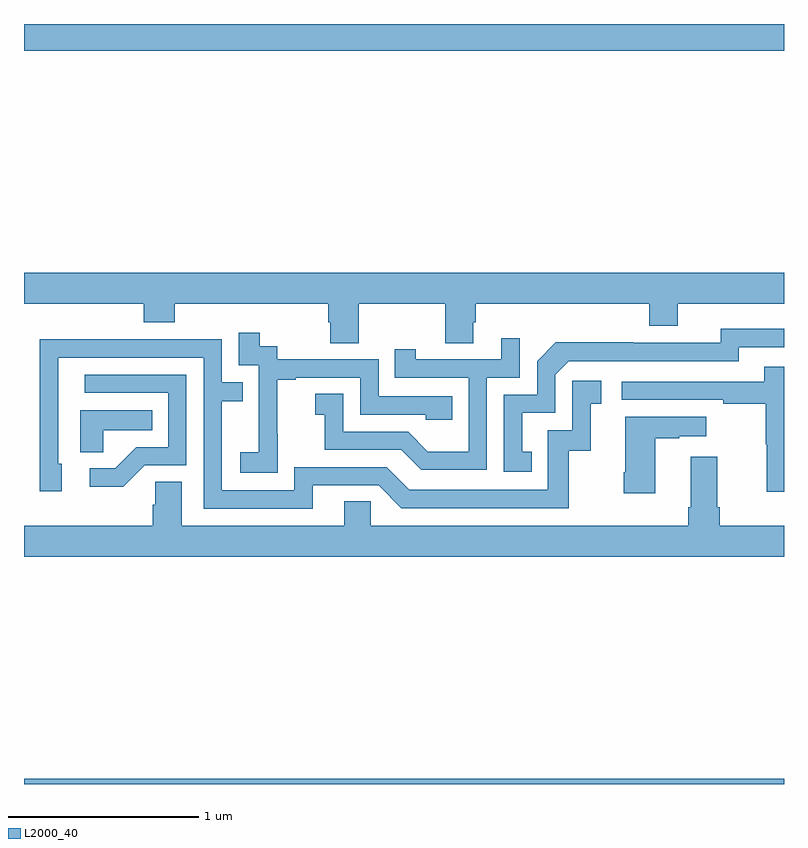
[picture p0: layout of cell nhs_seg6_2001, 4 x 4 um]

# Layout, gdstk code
import gdstk
lib = gdstk.Library(unit=1e-6, precision=1e-09)
def R(c, l, rs):  # rectangles x0, y0, x1, y1
    for r in rs: c.add(gdstk.rectangle(r[:2], r[2:], *l))
def P(c, l, *ps):  # polygons
    for p in ps: c.add(gdstk.Polygon(p, *l))
L2000_40 = (2000, 40)

nhs_seg6_2001 = lib.new_cell('nhs_seg6_2001')
R(nhs_seg6_2001, L2000_40, [(231,919.5,235,919.528), (231,923.36,235,923.5)])
P(nhs_seg6_2001, L2000_40, [(231,922.028),(231.629,922.028),(231.629,921.929),(231.794,921.929),(231.794,922.028),(232.601,922.028),(232.601,921.93),(232.613,921.93),(232.613,921.82),(232.761,921.82),(232.761,922.028),(233.218,922.028),(233.218,921.82),(233.365,921.82),(233.365,921.93),(233.378,921.93),(233.378,922.028),(234.29,922.028),(234.29,921.911),(234.442,921.911),(234.442,922.028),(235,922.028),(235,922.192),(231,922.192)],
  [(233.672,921.249),(233.623,921.249),(233.623,921.453),(233.796,921.453),(233.796,921.654),(233.868,921.726),(234.762,921.726),(234.762,921.798),(235,921.798),(235,921.895),(234.666,921.895),(234.666,921.822),(234.206,921.822),(234.206,921.824),(233.798,921.824),(233.7,921.726),(233.7,921.549),(233.526,921.549),(233.526,921.144),(233.672,921.144)],
  [(232.335,921.343),(232.334,921.343),(232.334,921.627),(232.429,921.627),(232.429,921.639),(232.77,921.639),(232.77,921.444),(233.115,921.444),(233.115,921.417),(233.255,921.417),(233.255,921.54),(232.866,921.54),(232.866,921.735),(232.332,921.735),(232.332,921.804),(232.24,921.804),(232.24,921.874),(232.131,921.874),(232.131,921.705),(232.236,921.705),(232.236,921.476),(232.235,921.476),(232.235,921.247),(232.137,921.247),(232.137,921.137),(232.335,921.137)],
  [(233.436,921.639),(233.61,921.639),(233.61,921.847),(233.513,921.847),(233.513,921.735),(233.062,921.735),(233.062,921.787),(232.951,921.787),(232.951,921.639),(233.34,921.639),(233.34,921.25),(233.126,921.25),(233.022,921.354),(232.68,921.354),(232.68,921.553),(232.533,921.553),(232.533,921.443),(232.582,921.443),(232.582,921.258),(232.985,921.258),(233.09,921.153),(233.436,921.153)],
  [(232.519,921.072),(232.866,921.072),(232.986,920.952),(233.866,920.952),(233.866,921.255),(233.984,921.255),(233.984,921.501),(234.037,921.501),(234.037,921.622),(233.886,921.622),(233.886,921.363),(233.757,921.363),(233.757,921.048),(233.028,921.048),(232.908,921.168),(232.422,921.168),(232.422,921.045),(232.041,921.045),(232.041,921.514),(232.151,921.514),(232.151,921.615),(232.041,921.615),(232.041,921.84),(231.545,921.84),(231.545,921.842),(231.082,921.842),(231.082,921.535),(231.084,921.535),(231.084,921.042),(231.199,921.042),(231.199,921.186),(231.18,921.186),(231.18,921.744),(231.945,921.744),(231.945,920.949),(232.519,920.949)],
  [(235,921.697),(234.895,921.697),(234.895,921.618),(234.147,921.618),(234.147,921.522),(234.679,921.522),(234.679,921.502),(234.903,921.502),(234.903,921.288),(234.91,921.288),(234.91,921.039),(235,921.039)],
  [(231.636,921.177),(231.855,921.177),(231.855,921.654),(231.321,921.654),(231.321,921.558),(231.759,921.558),(231.759,921.273),(231.59,921.273),(231.479,921.162),(231.345,921.162),(231.345,921.065),(231.523,921.065)],
  [(231.417,921.362),(231.674,921.362),(231.674,921.466),(231.296,921.466),(231.296,921.247),(231.417,921.247)],
  [(234.322,921.319),(234.449,921.319),(234.449,921.329),(234.592,921.329),(234.592,921.433),(234.164,921.433),(234.164,921.142),(234.157,921.142),(234.157,921.03),(234.322,921.03)],
  [(235,920.86),(234.662,920.86),(234.662,920.956),(234.649,920.956),(234.649,921.223),(234.509,921.223),(234.509,920.956),(234.497,920.956),(234.497,920.86),(232.824,920.86),(232.824,920.987),(232.685,920.987),(232.685,920.86),(231.829,920.86),(231.829,921.092),(231.69,921.092),(231.69,920.969),(231.677,920.969),(231.677,920.86),(231,920.86),(231,920.696),(235,920.696)])

lib.write_gds('nhs_seg6_2001.gds')
